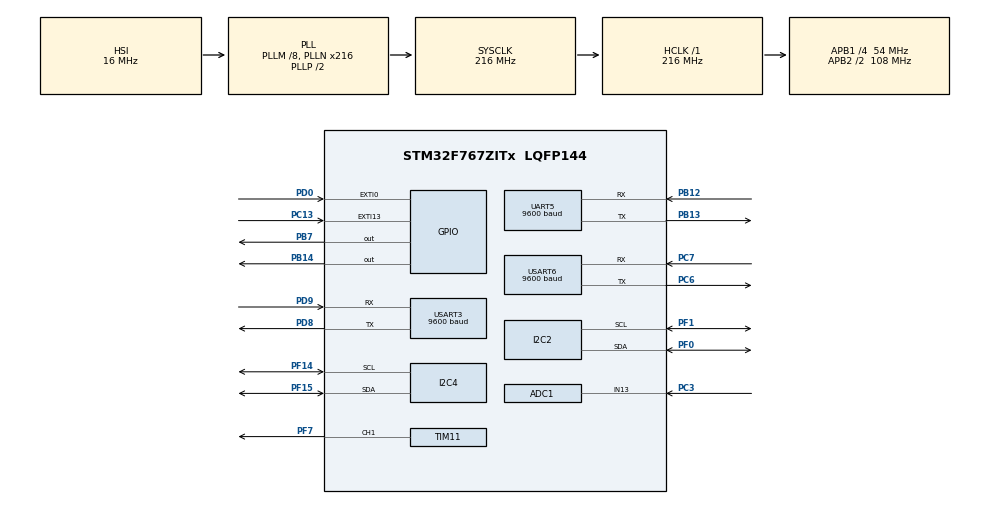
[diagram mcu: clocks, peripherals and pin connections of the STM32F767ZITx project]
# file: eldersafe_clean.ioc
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ADC1.Channel-0\#ChannelRegularConversion=ADC_CHANNEL_13
ADC1.ClockPrescaler=ADC_CLOCK_SYNC_PCLK_DIV4
ADC1.ContinuousConvMode=DISABLE
ADC1.DMAContinuousRequests=DISABLE
ADC1.DataAlign=ADC_DATAALIGN_RIGHT
ADC1.DiscontinuousConvMode=DISABLE
ADC1.EOCSelection=ADC_EOC_SINGLE_CONV
ADC1.EnableAnalogWatchDog=false
ADC1.ExternalTrigConv=ADC_EXTERNALTRIGCONV_T6_TRGO
ADC1.ExternalTrigConvEdge=ADC_EXTERNALTRIGCONVEDGE_FALLING
ADC1.InjNumberOfConversion=0
ADC1.NbrOfConversion=1
ADC1.NbrOfConversionFlag=1
ADC1.Rank-0\#ChannelRegularConversion=1
ADC1.Resolution=ADC_RESOLUTION_10B
ADC1.SamplingTime-0\#ChannelRegularConversion=ADC_SAMPLETIME_3CYCLES
ADC1.ScanConvMode=ADC_SCAN_ENABLE
ADC1.master=1
Dma.I2C2_RX.0.Direction=DMA_PERIPH_TO_MEMORY
Dma.I2C2_RX.0.FIFOMode=DMA_FIFOMODE_DISABLE
Dma.I2C2_RX.0.Instance=DMA1_Stream2
Dma.I2C2_RX.0.MemDataAlignment=DMA_MDATAALIGN_BYTE
Dma.I2C2_RX.0.MemInc=DMA_MINC_ENABLE
Dma.I2C2_RX.0.Mode=DMA_NORMAL
Dma.I2C2_RX.0.PeriphDataAlignment=DMA_PDATAALIGN_BYTE
Dma.I2C2_RX.0.PeriphInc=DMA_PINC_DISABLE
Dma.I2C2_RX.0.Priority=DMA_PRIORITY_LOW
Dma.Request0=I2C2_RX
Dma.Request1=USART6_TX
Dma.USART6_TX.1.Direction=DMA_MEMORY_TO_PERIPH
Dma.USART6_TX.1.FIFOMode=DMA_FIFOMODE_DISABLE
Dma.USART6_TX.1.Instance=DMA2_Stream6
Dma.USART6_TX.1.MemDataAlignment=DMA_MDATAALIGN_BYTE
Dma.USART6_TX.1.MemInc=DMA_MINC_ENABLE
Dma.USART6_TX.1.Mode=DMA_NORMAL
Dma.USART6_TX.1.PeriphDataAlignment=DMA_PDATAALIGN_BYTE
Dma.USART6_TX.1.PeriphInc=DMA_PINC_DISABLE
Dma.USART6_TX.1.Priority=DMA_PRIORITY_LOW
FREERTOS.Tasks01=defaultTask,0,128,StartDefaultTask,Default,NULL
FREERTOS.configTOTAL_HEAP_SIZE=90000
I2C2.Timing=0x20404768
I2C4.OwnAddress=90
I2C4.Speed=100
I2C4.Timing=0x20404768
Mcu.Family=STM32F7
Mcu.Name=STM32F767ZITx
Mcu.Package=LQFP144
NVIC.ADC_IRQn=true\:5\:0\:false\:false\:true\:true\:true
NVIC.DMA1_Stream2_IRQn=true\:5\:0\:false\:false\:true\:true\:false
NVIC.DMA2_Stream6_IRQn=true\:5\:0\:false\:false\:true\:true\:false
NVIC.EXTI0_IRQn=true\:5\:0\:false\:false\:true\:true\:true
NVIC.EXTI15_10_IRQn=true\:5\:0\:false\:false\:true\:true\:true
NVIC.I2C2_EV_IRQn=true\:5\:0\:false\:false\:true\:true\:true
NVIC.PriorityGroup=NVIC_PRIORITYGROUP_4
NVIC.TIM2_IRQn=true\:5\:0\:false\:false\:true\:true\:true
NVIC.TIM5_IRQn=true\:5\:0\:false\:false\:true\:true\:true
NVIC.TIM6_DAC_IRQn=true\:5\:0\:false\:false\:true\:true\:true
NVIC.UART5_IRQn=true\:5\:0\:false\:false\:true\:true\:true
NVIC.USART6_IRQn=true\:5\:0\:false\:false\:true\:true\:true
PB12.Mode=Asynchronous
PB12.Signal=UART5_RX
PB13.Mode=Asynchronous
PB13.Signal=UART5_TX
PB14.Signal=GPIO_Output
PB7.Signal=GPIO_Output
PC13.Signal=GPXTI13
PC14/OSC32_IN.Mode=LSE-External-Oscillator
PC14/OSC32_IN.Signal=RCC_OSC32_IN
PC15/OSC32_OUT.Mode=LSE-External-Oscillator
PC15/OSC32_OUT.Signal=RCC_OSC32_OUT
PC3.Signal=ADCx_IN13
PC6.Mode=Asynchronous
PC6.Signal=USART6_TX
PC7.Mode=Asynchronous
PC7.Signal=USART6_RX
PD0.Signal=GPXTI0
PD8.Mode=Asynchronous
PD8.Signal=USART3_TX
PD9.Mode=Asynchronous
PD9.Signal=USART3_RX
PF0.Mode=I2C
PF0.Signal=I2C2_SDA
PF1.Mode=I2C
PF1.Signal=I2C2_SCL
PF14.Mode=I2C
PF14.Signal=I2C4_SCL
PF15.Mode=I2C
PF15.Signal=I2C4_SDA
PF7.Signal=S_TIM11_CH1
PH0/OSC_IN.Mode=HSE-External-Oscillator
PH0/OSC_IN.Signal=RCC_OSC_IN
PH1/OSC_OUT.Mode=HSE-External-Oscillator
PH1/OSC_OUT.Signal=RCC_OSC_OUT
ProjectManager.HeapSize=0x200
ProjectManager.StackSize=0x400
ProjectManager.TargetToolchain=MDK-ARM V5
RCC.AHBFreq_Value=216000000
RCC.APB1CLKDivider=RCC_HCLK_DIV4
RCC.APB1Freq_Value=54000000
RCC.APB1TimFreq_Value=108000000
RCC.APB2CLKDivider=RCC_HCLK_DIV2
RCC.APB2Freq_Value=108000000
RCC.APB2TimFreq_Value=216000000
RCC.CortexFreq_Value=216000000
RCC.HCLKFreq_Value=216000000
RCC.HSE_VALUE=25000000
RCC.HSI_VALUE=16000000
RCC.PLLM=8
RCC.PLLN=216
RCC.SYSCLKFreq_VALUE=216000000
RCC.SYSCLKSource=RCC_SYSCLKSOURCE_PLLCLK
RCC.USBFreq_Value=216000000
RCC.VCOOutputFreq_Value=432000000
RTC.Format=RTC_FORMAT_BIN
RTC.Hours=8
RTC.Minutes=30
RTC.Month=RTC_MONTH_DECEMBER
RTC.SynchPrediv=249
RTC.WeekDay=RTC_WEEKDAY_TUESDAY
RTC.Year=20
SH.ADCx_IN13.0=ADC1_IN13,IN13
SH.S_TIM11_CH1.0=TIM11_CH1,PWM Generation1 CH1
TIM11.Channel=TIM_CHANNEL_1
TIM11.Period=1349
TIM2.Channel-Output\ Compare1\ No\ Output=TIM_CHANNEL_1
TIM2.Period=3239999999
TIM2.Prescaler=3
TIM2.TIM_MasterOutputTrigger=TIM_TRGO_UPDATE
TIM5.Channel-Output\ Compare1\ No\ Output=TIM_CHANNEL_1
TIM5.Period=3239999999
TIM5.Prescaler=3
TIM5.TIM_MasterOutputTrigger=TIM_TRGO_UPDATE
TIM6.Period=59999
TIM6.Prescaler=71
TIM6.TIM_MasterOutputTrigger=TIM_TRGO_UPDATE
UART5.BaudRate=9600
USART3.BaudRate=9600
USART3.VirtualMode-Asynchronous=VM_ASYNC
USART6.BaudRate=9600
USART6.VirtualMode-Asynchronous=VM_ASYNC
VP_FREERTOS_VS_ENABLE.Mode=Enabled
VP_RTC_VS_RTC_Activate.Mode=RTC_Enabled
VP_RTC_VS_RTC_Calendar.Mode=RTC_Calendar
VP_TIM11_VS_ClockSourceINT.Mode=Enable_Timer
VP_TIM2_VS_no_output1.Mode=Output Compare1 No Output
VP_TIM5_VS_no_output1.Mode=Output Compare1 No Output
VP_TIM6_VS_ClockSourceINT.Mode=Enable_Timer
board=custom

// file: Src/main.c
/**
  ******************************************************************************
  * @file           : main.c
  * @brief          : Main program body
  ******************************************************************************
  * This notice applies to any and all portions of this file
  * that are not between comment pairs USER CODE BEGIN and
  * USER CODE END. Other portions of this file, whether
  * inserted by the user or by software development tools
  * are owned by their respective copyright owners.
  *
  * Copyright (c) 2019 STMicroelectronics International N.V.
  * All rights reserved.
  *
  * Redistribution and use in source and binary forms, with or without
  * modification, are permitted, provided that the following conditions are met:
  *
  * 1. Redistribution of source code must retain the above copyright notice,
  *    this list of conditions and the following disclaimer.
  * 2. Redistributions in binary form must reproduce the above copyright notice,
  *    this list of conditions and the following disclaimer in the documentation
  *    and/or other materials provided with the distribution.
  * 3. Neither the name of STMicroelectronics nor the names of other
  *    contributors to this software may be used to endorse or promote products
  *    derived from this software without specific written permission.
  * 4. This software, including modifications and/or derivative works of this
  *    software, must execute solely and exclusively on microcontroller or
  *    microprocessor devices manufactured by or for STMicroelectronics.
  * 5. Redistribution and use of this software other than as permitted under
  *    this license is void and will automatically terminate your rights under
  *    this license.
  *
  * THIS SOFTWARE IS PROVIDED BY STMICROELECTRONICS AND CONTRIBUTORS "AS IS"
  * AND ANY EXPRESS, IMPLIED OR STATUTORY WARRANTIES, INCLUDING, BUT NOT
  * LIMITED TO, THE IMPLIED WARRANTIES OF MERCHANTABILITY, FITNESS FOR A
  * PARTICULAR PURPOSE AND NON-INFRINGEMENT OF THIRD PARTY INTELLECTUAL PROPERTY
  * RIGHTS ARE DISCLAIMED TO THE FULLEST EXTENT PERMITTED BY LAW. IN NO EVENT
  * SHALL STMICROELECTRONICS OR CONTRIBUTORS BE LIABLE FOR ANY DIRECT, INDIRECT,
  * INCIDENTAL, SPECIAL, EXEMPLARY, OR CONSEQUENTIAL DAMAGES (INCLUDING, BUT NOT
  * LIMITED TO, PROCUREMENT OF SUBSTITUTE GOODS OR SERVICES; LOSS OF USE, DATA,
  * OR PROFITS; OR BUSINESS INTERRUPTION) HOWEVER CAUSED AND ON ANY THEORY OF
  * LIABILITY, WHETHER IN CONTRACT, STRICT LIABILITY, OR TORT (INCLUDING
  * NEGLIGENCE OR OTHERWISE) ARISING IN ANY WAY OUT OF THE USE OF THIS SOFTWARE,
  * EVEN IF ADVISED OF THE POSSIBILITY OF SUCH DAMAGE.
  *
  ******************************************************************************
  */
#include "main.h"
#include "cmsis_os.h"
#include "adc.h"
#include "dma.h"
#include "i2c.h"
#include "rtc.h"
#include "tim.h"
#include "usart.h"
#include "gpio.h"
#include <stdlib.h>
#include <string.h>

/* USER CODE BEGIN Includes */
#include "Temperature.h"
#include "Heartrate.h"
#include "Bluetooth.h"
#include "Buzzer.h"
#include "GSM.h"
#include "Accelerometer.h"
#include "ADXL345.h"
#include "Fall_Detection.h"
#include "Tasks.h"
/* USER CODE END Includes */

/* USER CODE BEGIN PV */
/* Private variables ---------------------------------------------------------*/

/* USER CODE END PV */

void SystemClock_Config(void);
void MX_FREERTOS_Init(void);

/* USER CODE BEGIN PFP */
/* Private function prototypes -----------------------------------------------*/

/* USER CODE END PFP */

int main(void)
{
  /* USER CODE BEGIN 1 */

	// Init semaphores
	init_semaphores();
	// Init mutexes
	init_mutexes();
	// Init queues
	init_queues();
	// Init queue set
	init_queue_set();

  /* USER CODE END 1 */

  /* MCU Configuration----------------------------------------------------------*/

  /* Reset of all peripherals, Initializes the Flash interface and the Systick. */
  HAL_Init();

  /* Configure the system clock */
  SystemClock_Config();

  /* Initialize all configured peripherals */
  MX_GPIO_Init();
  MX_DMA_Init();
  MX_ADC1_Init();
  MX_I2C2_Init();
  MX_I2C4_Init();
  MX_RTC_Init();
  MX_TIM2_Init();
  MX_TIM5_Init();
  MX_TIM6_Init();
  MX_TIM11_Init();
  MX_UART5_Init();
  MX_USART6_UART_Init();
  MX_USART3_UART_Init();
  /* USER CODE BEGIN 2 */
	BT_Init();
	TEMP_Init();
	HR_Init();
	accel_Config();
	buzzer_Init();
	/* Start and configure GSM module */
	GSM_Config();
	/* Read contact saved on SIM card */
	readContact(&emergency_contact, 5);
	init_tasks();

  /* USER CODE END 2 */

  /* Call init function for freertos objects (in freertos.c) */
  MX_FREERTOS_Init();

  /* Start scheduler */
  osKernelStart();

  /* We should never get here as control is now taken by the scheduler */

  /* Infinite loop */
  while (1)
  {

  }

}

void SystemClock_Config(void)
{

  RCC_OscInitTypeDef RCC_OscInitStruct;
  RCC_ClkInitTypeDef RCC_ClkInitStruct;
  RCC_PeriphCLKInitTypeDef PeriphClkInitStruct;

    /**Configure the main internal regulator output voltage
    */
  __HAL_RCC_PWR_CLK_ENABLE();

  __HAL_PWR_VOLTAGESCALING_CONFIG(PWR_REGULATOR_VOLTAGE_SCALE1);

    /**Initializes the CPU, AHB and APB busses clocks
    */
  RCC_OscInitStruct.OscillatorType = RCC_OSCILLATORTYPE_HSI|RCC_OSCILLATORTYPE_LSI;
  RCC_OscInitStruct.HSIState = RCC_HSI_ON;
  RCC_OscInitStruct.HSICalibrationValue = 16;
  RCC_OscInitStruct.LSIState = RCC_LSI_ON;
  RCC_OscInitStruct.PLL.PLLState = RCC_PLL_ON;
  RCC_OscInitStruct.PLL.PLLSource = RCC_PLLSOURCE_HSI;
  RCC_OscInitStruct.PLL.PLLM = 8;
  RCC_OscInitStruct.PLL.PLLN = 216;
  RCC_OscInitStruct.PLL.PLLP = RCC_PLLP_DIV2;
  RCC_OscInitStruct.PLL.PLLQ = 2;
  if (HAL_RCC_OscConfig(&RCC_OscInitStruct) != HAL_OK)
  {
    _Error_Handler(__FILE__, __LINE__);
  }

    /**Activate the Over-Drive mode
    */
  if (HAL_PWREx_EnableOverDrive() != HAL_OK)
  {
    _Error_Handler(__FILE__, __LINE__);
  }

    /**Initializes the CPU, AHB and APB busses clocks
    */
  RCC_ClkInitStruct.ClockType = RCC_CLOCKTYPE_HCLK|RCC_CLOCKTYPE_SYSCLK
                              |RCC_CLOCKTYPE_PCLK1|RCC_CLOCKTYPE_PCLK2;
  RCC_ClkInitStruct.SYSCLKSource = RCC_SYSCLKSOURCE_PLLCLK;
  RCC_ClkInitStruct.AHBCLKDivider = RCC_SYSCLK_DIV1;
  RCC_ClkInitStruct.APB1CLKDivider = RCC_HCLK_DIV4;
  RCC_ClkInitStruct.APB2CLKDivider = RCC_HCLK_DIV2;

  if (HAL_RCC_ClockConfig(&RCC_ClkInitStruct, FLASH_LATENCY_7) != HAL_OK)
  {
    _Error_Handler(__FILE__, __LINE__);
  }

  PeriphClkInitStruct.PeriphClockSelection = RCC_PERIPHCLK_RTC|RCC_PERIPHCLK_USART3
                              |RCC_PERIPHCLK_USART6|RCC_PERIPHCLK_UART5
                              |RCC_PERIPHCLK_I2C2|RCC_PERIPHCLK_I2C4;
  PeriphClkInitStruct.RTCClockSelection = RCC_RTCCLKSOURCE_LSI;
  PeriphClkInitStruct.Usart3ClockSelection = RCC_USART3CLKSOURCE_PCLK1;
  PeriphClkInitStruct.Uart5ClockSelection = RCC_UART5CLKSOURCE_PCLK1;
  PeriphClkInitStruct.Usart6ClockSelection = RCC_USART6CLKSOURCE_PCLK2;
  PeriphClkInitStruct.I2c2ClockSelection = RCC_I2C2CLKSOURCE_PCLK1;
  PeriphClkInitStruct.I2c4ClockSelection = RCC_I2C4CLKSOURCE_PCLK1;
  if (HAL_RCCEx_PeriphCLKConfig(&PeriphClkInitStruct) != HAL_OK)
  {
    _Error_Handler(__FILE__, __LINE__);
  }

    /**Configure the Systick interrupt time
    */
  HAL_SYSTICK_Config(HAL_RCC_GetHCLKFreq()/1000);

    /**Configure the Systick
    */
  HAL_SYSTICK_CLKSourceConfig(SYSTICK_CLKSOURCE_HCLK);

  /* SysTick_IRQn interrupt configuration */
  HAL_NVIC_SetPriority(SysTick_IRQn, 15, 0);
}

/* USER CODE BEGIN 4 */
void HAL_ADC_ConvCpltCallback(ADC_HandleTypeDef* hadc)
{
	int hrRaw;
	BaseType_t xHigherPriorityTaskWoken;
	xHigherPriorityTaskWoken = pdFALSE;
	// Read data from ADC
	hrRaw = HAL_ADC_GetValue(hadc);
	// Send data to heart rate queue
	xQueueSendToBackFromISR(xQueueHRRaw, &hrRaw, &xHigherPriorityTaskWoken);
	// Wake up next task
	portYIELD_FROM_ISR(xHigherPriorityTaskWoken);
}

void  HAL_I2C_MemRxCpltCallback(I2C_HandleTypeDef *hi2c)
{
	static BaseType_t xHigherPriorityTaskWoken;
	xHigherPriorityTaskWoken = pdFALSE;
	if(hi2c->Instance == I2C2)
	{
		xSemaphoreGiveFromISR(xSemaphoreDMAFinish, &xHigherPriorityTaskWoken);
	}
	portYIELD_FROM_ISR(xHigherPriorityTaskWoken);
}

void  HAL_I2C_MasterRxCpltCallback(I2C_HandleTypeDef *hi2c)
 {
	 static BaseType_t xHigherPriorityTaskWoken;
	 xHigherPriorityTaskWoken = pdFALSE;
	 if(hi2c->Instance == I2C2)
	 {
		 xSemaphoreGiveFromISR(xSemaphoreDMAFinish, &xHigherPriorityTaskWoken);
	 }
	 portYIELD_FROM_ISR(xHigherPriorityTaskWoken);
 }

void HAL_GPIO_EXTI_Callback(uint16_t GPIO_Pin)
{
	BaseType_t xHigherPriorityTaskWoken;
	xHigherPriorityTaskWoken = pdFALSE;
	// User button
	if(GPIO_Pin == GPIO_PIN_13)
	{
		xSemaphoreGiveFromISR(xSemaphoreDistress, &xHigherPriorityTaskWoken);
	}
	// Accelerometer INT pin
	if(GPIO_Pin == GPIO_PIN_0)
	{
		xSemaphoreGiveFromISR(xSemaphoreActivateDMA, &xHigherPriorityTaskWoken);
	}

}

void HAL_UART_RxCpltCallback(UART_HandleTypeDef* huart)
{
	if(huart->Instance == USART6)
		Rx_Bt_Handler();
}

void HAL_TIM_PeriodElapsedCallback(TIM_HandleTypeDef *htim)
{
	BaseType_t xHigherPriorityTaskWoken;
	xHigherPriorityTaskWoken = pdFALSE;

	// Temperature trigger
	if(htim->Instance == TIM5)
	{
		xSemaphoreGiveFromISR(xSemaphoreReadTemp, &xHigherPriorityTaskWoken);
		portYIELD_FROM_ISR(xHigherPriorityTaskWoken);
	}
	// Store trigger
	if(htim->Instance == TIM2)
	{
		xSemaphoreGiveFromISR(xSemaphoreStore, &xHigherPriorityTaskWoken);
		portYIELD_FROM_ISR(xHigherPriorityTaskWoken);
	}
}
/* USER CODE END 4 */

void _Error_Handler(char *file, int line)
{
  while(1)
  {
  }
}

/************************ (C) COPYRIGHT STMicroelectronics *****END OF FILE****/
